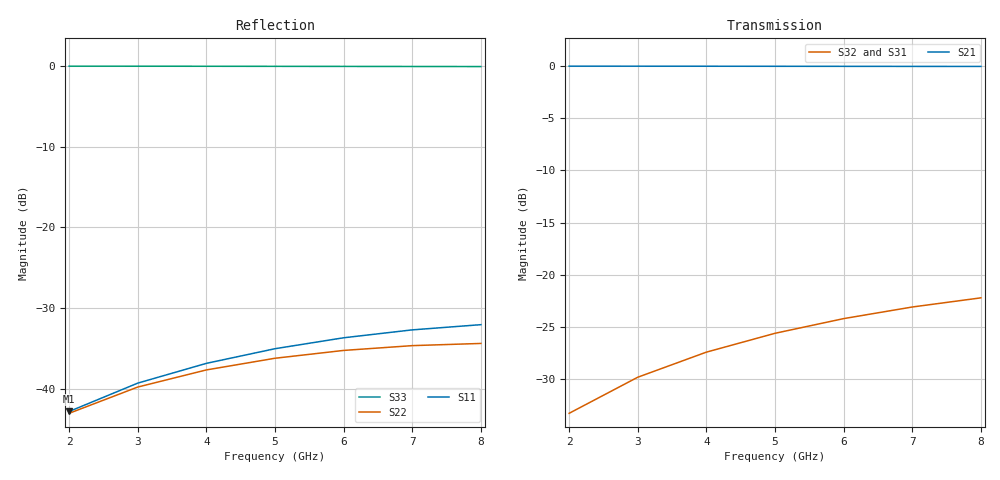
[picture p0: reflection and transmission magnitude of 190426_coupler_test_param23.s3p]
! Sonnet Data File
! From: emgraph Version : 16.56
! From Project: 190426_coupler_test
! Data is De-embedded
! Data File Written: 05/06/2019 15:59:44
!< HDATE 04/25/2019 10:48:44
!< MDATE 04/25/2019 10:59:35
!< PARAMS
!< tandelta = 0.0
!< t_aSi = 0.25
!< W = 10.0
!< Lcoupler = 2200.0
!< END PARAMS
# GHZ S MA R 50.0 !  non standard terminations in data
! TERM 50.00000 0.000000 50.00000 0.000000 63.84000 0.000000
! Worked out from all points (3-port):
!   7 points, 2 GHz to 8 GHz, reference 50 ohm
!   strongest paths, dB at 2 GHz, 3 GHz, 5 GHz, 7 GHz, 8 GHz:
!     S21: 0.0, 0.0, 0.0, 0.0, 0.0
!     S32: -33.3, -29.8, -25.6, -23.1, -22.2
!     S31: -33.3, -29.9, -25.7, -23.3, -22.4
!   lowest |S11| = -42.8 dB at 2 GHz (marker M1), VSWR 1.01, Z = 50.3 + j0.678 ohm
!   |S11| at or under -10 dB: start of sweep to end of sweep
2  0.007224 69.0  0.9997 -21.7  0.02159 51.4
   0.9997 -21.7  0.007038 71.0  0.02165 75.9
   0.02159 51.4  0.02165 75.9  0.9995 -31.4
3  0.01083 57.9  0.9994 -32.6  0.03206 32.1
   0.9994 -32.6  0.01024 61.5  0.03225 68.7
   0.03206 32.1  0.03225 68.7  0.999 -47.1
4  0.01436 46.3  0.999 -43.4  0.04212 12.7
   0.999 -43.4  0.01307 52.2  0.04254 61.5
   0.04212 12.7  0.04254 61.5  0.9982 -62.9
5  0.0177 33.9  0.9985 -54.2  0.05166 -6.6
   0.9985 -54.2  0.01545 42.8  0.05238 54.1
   0.05166 -6.6  0.05238 54.1  0.9973 -78.8
6  0.02069 20.7  0.998 -65.1  0.06053 -26.0
   0.998 -65.1  0.01727 33.6  0.06159 46.7
   0.06053 -26.0  0.06159 46.7  0.9963 -94.7
7  0.02316 6.9  0.9974 -75.9  0.06861 -45.4
   0.9974 -75.9  0.0185 24.6  0.07002 39.1
   0.06861 -45.4  0.07002 39.1  0.9952 -110.6
8  0.02495 -7.7  0.9968 -86.7  0.07578 -64.8
   0.9968 -86.7  0.01909 15.7  0.07747 31.5
   0.07578 -64.8  0.07747 31.5  0.9941 -126.7
